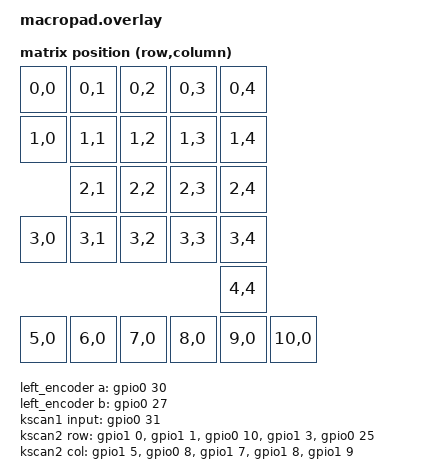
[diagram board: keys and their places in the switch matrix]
#include <physical_layouts.dtsi>
#include <dt-bindings/zmk/matrix_transform.h>
#include <dt-bindings/led/led.h>
#include <dt-bindings/zmk/ext_power.h>
/ {
    chosen {
        zmk,kscan = &kscan0;
        zmk,physical-layout = &default_layout;
		zmk,underglow = &led_strip;
		zmk,battery = &vbatt;
    };

    left_encoder: left_encoder {
        compatible = "alps,ec11";
        a-gpios = <&gpio0 30 (GPIO_ACTIVE_HIGH | GPIO_PULL_UP)>;
        b-gpios = <&gpio0 27 (GPIO_ACTIVE_HIGH | GPIO_PULL_UP)>;
        steps = <80>;
        status = "okay";
    };

    sensors: sensors {
        compatible = "zmk,keymap-sensors";
        sensors = <&left_encoder>;
        triggers-per-rotation = <20>;
    };

    keys {
        compatible = "gpio-keys";
        wakeup_key: wakeup_key {
            gpios = <&gpio0 11 (GPIO_ACTIVE_LOW | GPIO_PULL_UP)>;
        };
    };

    wakeup_scan: wakeup_scan {
        compatible = "zmk,gpio-key-wakeup-trigger";
        trigger = <&wakeup_key>;
        wakeup-source;
    };

    kscan0: kscan_composite {
        compatible = "zmk,kscan-composite";
        rows = <11>;
        columns = <5>;

        direct {
            kscan = <&kscan1>;
            row-offset = <5>;
        };

        matrix {
            kscan = <&kscan2>;
        };
    };

    kscan1: kscan_direct {
        compatible = "zmk,kscan-gpio-direct";
        input-gpios = <&gpio1 6  (GPIO_ACTIVE_LOW | GPIO_PULL_UP)>;
		input-gpios = <&gpio0 9  (GPIO_ACTIVE_LOW | GPIO_PULL_UP)>;
		input-gpios = <&gpio1 2  (GPIO_ACTIVE_LOW | GPIO_PULL_UP)>;
		input-gpios = <&gpio1 4  (GPIO_ACTIVE_LOW | GPIO_PULL_UP)>;
		input-gpios = <&gpio0 28 (GPIO_ACTIVE_LOW | GPIO_PULL_UP)>;
		input-gpios = <&gpio0 31 (GPIO_ACTIVE_LOW | GPIO_PULL_UP)>;
    };

    kscan2: kscan_matrix {
        compatible = "zmk,kscan-gpio-matrix";
        diode-direction = "col2row";

		row-gpios
			= <&gpio1 0  (GPIO_ACTIVE_HIGH | GPIO_PULL_DOWN)>
			, <&gpio1 1  (GPIO_ACTIVE_HIGH | GPIO_PULL_DOWN)>
			, <&gpio0 10 (GPIO_ACTIVE_HIGH | GPIO_PULL_DOWN)>
			, <&gpio1 3  (GPIO_ACTIVE_HIGH | GPIO_PULL_DOWN)>
			, <&gpio0 25 (GPIO_ACTIVE_HIGH | GPIO_PULL_DOWN)>
			;
		
		col-gpios
			= <&gpio1 5 GPIO_ACTIVE_HIGH>
			, <&gpio0 8 GPIO_ACTIVE_HIGH>
			, <&gpio1 7 GPIO_ACTIVE_HIGH>
			, <&gpio1 8 GPIO_ACTIVE_HIGH>
			, <&gpio1 9 GPIO_ACTIVE_HIGH>
			;
    };

	default_transform: keymap_transform_0 {
		compatible = "zmk,matrix-transform";
		columns = <5>;
		rows = <11>;
        map = <
            RC(0,0) RC(0,1) RC(0,2) RC(0,3) RC(0,4)
            RC(1,0) RC(1,1) RC(1,2) RC(1,3) RC(1,4)
                    RC(2,1) RC(2,2) RC(2,3) RC(2,4)
            RC(3,0) RC(3,1) RC(3,2) RC(3,3) RC(3,4)
                                            RC(4,4)
            RC(5,0) RC(6,0) RC(7,0) RC(8,0) RC(9,0) RC(10,0)
        >;
	};
    default_layout: default_layout {
		compatible = "zmk,physical-layout";
		display-name = "Macropad";
		transform = <&default_transform>;
		kscan = <&kscan2>;
		
		keys  //                    w   h   x    y    rot  rx   ry
			// Row 0
			= <&key_physical_attrs 100 100   0    0    0    0    0>
			, <&key_physical_attrs 100 100 100    0    0    0    0>
			, <&key_physical_attrs 100 100 200    0    0    0    0>
			, <&key_physical_attrs 100 100 300    0    0    0    0>
			, <&key_physical_attrs 100 100 400    0    0    0    0>
			// Row 1
			, <&key_physical_attrs 100 100   0  100    0    0    0>
			, <&key_physical_attrs 100 100 100  100    0    0    0>
			, <&key_physical_attrs 100 100 200  100    0    0    0>
			, <&key_physical_attrs 100 100 300  100    0    0    0>
			, <&key_physical_attrs 100 100 400  100    0    0    0>
			// Row 2
			, <&key_physical_attrs 100 100 100  200    0    0    0>
			, <&key_physical_attrs 100 100 200  200    0    0    0>
			, <&key_physical_attrs 100 100 300  200    0    0    0>
			, <&key_physical_attrs 100 100 400  200    0    0    0>
			// Row 3
			, <&key_physical_attrs 100 100   0  300    0    0    0>
			, <&key_physical_attrs 100 100 100  300    0    0    0>
			, <&key_physical_attrs 100 100 200  300    0    0    0>
			, <&key_physical_attrs 100 100 300  300    0    0    0>
			, <&key_physical_attrs 100 100 400  300    0    0    0>
			// Row 4
			, <&key_physical_attrs 100 100 400  400    0    0    0>
			// Direct switches (row 5+)
			, <&key_physical_attrs 100 100   0  500    0    0    0>
			, <&key_physical_attrs 100 100 100  500    0    0    0>
			, <&key_physical_attrs 100 100 200  500    0    0    0>
			, <&key_physical_attrs 100 100 300  500    0    0    0>
			, <&key_physical_attrs 100 100 400  500    0    0    0>
			, <&key_physical_attrs 100 100 500  500    0    0    0>
			;
	};

	vbatt: vbatt {
		compatible = "zmk,battery-voltage-divider";
		io-channels = <&adc 2>;
		output-ohms = <220000>;
		full-ohms = <(220000 + 1500000)>;
	};

	leds {
		compatible = "gpio-leds";
		blue_led: led_0 {
			gpios = <&gpio0 11 GPIO_ACTIVE_HIGH>;
			label = "Blue LED";
		};
		led_1 {
			gpios = <&gpio1 11 GPIO_ACTIVE_HIGH>;
			label = "Device 1 LED";
		};
		led_2 {
			gpios = <&gpio1 13 GPIO_ACTIVE_HIGH>;
			label = "Device 2 LED";
		};
		led_3 {
			gpios = <&gpio1 10 GPIO_ACTIVE_HIGH>;
			label = "Device 3 LED";
		};
		led_4 {
			gpios = <&gpio1 14 GPIO_ACTIVE_HIGH>;
			label = "Layer 1 LED";
		};
		led_5 {
			gpios = <&gpio0 29 GPIO_ACTIVE_HIGH>;
			label = "Layer 2 LED";
		};
		led_6 {
			gpios = <&gpio1 15 GPIO_ACTIVE_HIGH>;
			label = "Layer 3 LED";
		};
		led_7 {
			gpios = <&gpio1 12 GPIO_ACTIVE_HIGH>;
			label = "Layer 4 LED";
		};						
	};
};

&adc {
	#address-cells = <1>;
	#size-cells = <0>;
	status = "okay";

	channel@2 {
		reg = <2>;
		zephyr,gain = "ADC_GAIN_1_6";
		zephyr,reference = "ADC_REF_INTERNAL";
		zephyr,acquisition-time = <ADC_ACQ_TIME_DEFAULT>;
		zephyr,input-positive = <NRF_SAADC_AIN2>;  /* P0.04 */
		zephyr,resolution = <12>;
	};
};

&pinctrl {
	spi3_default: spi3_default {
		group1 {
			psels = <NRF_PSEL(SPIM_MOSI, 0, 6)>;
		};
	};

	spi3_sleep: spi3_sleep {
		group1 {
			psels = <NRF_PSEL(SPIM_MOSI, 0, 6)>;
			low-power-enable;
		};
	};
};

&spi3 {
	compatible = "nordic,nrf-spim";
	status = "okay";
	pinctrl-0 = <&spi3_default>;
	pinctrl-1 = <&spi3_sleep>;
	pinctrl-names = "default", "sleep";
	
	led_strip: ws2812@0 {
		compatible = "worldsemi,ws2812-spi";
		reg = <0>;
		spi-max-frequency = <4000000>;
		chain-length = <11>;
		spi-one-frame = <0x70>;
		spi-zero-frame = <0x40>;
		color-mapping = <LED_COLOR_ID_GREEN LED_COLOR_ID_RED LED_COLOR_ID_BLUE>;
	};
};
